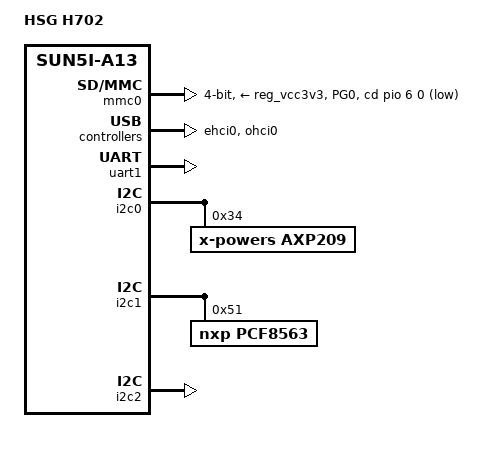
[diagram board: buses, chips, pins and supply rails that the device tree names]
/*
 * Copyright 2014 Chen-Yu Tsai <wens@csie.org>
 *
 * This file is dual-licensed: you can use it either under the terms
 * of the GPL or the X11 license, at your option. Note that this dual
 * licensing only applies to this file, and not this project as a
 * whole.
 *
 *  a) This file is free software; you can redistribute it and/or
 *     modify it under the terms of the GNU General Public License as
 *     published by the Free Software Foundation; either version 2 of the
 *     License, or (at your option) any later version.
 *
 *     This file is distributed in the hope that it will be useful,
 *     but WITHOUT ANY WARRANTY; without even the implied warranty of
 *     MERCHANTABILITY or FITNESS FOR A PARTICULAR PURPOSE.  See the
 *     GNU General Public License for more details.
 *
 *     You should have received a copy of the GNU General Public
 *     License along with this file; if not, write to the Free
 *     Software Foundation, Inc., 51 Franklin St, Fifth Floor, Boston,
 *     MA 02110-1301 USA
 *
 * Or, alternatively,
 *
 *  b) Permission is hereby granted, free of charge, to any person
 *     obtaining a copy of this software and associated documentation
 *     files (the "Software"), to deal in the Software without
 *     restriction, including without limitation the rights to use,
 *     copy, modify, merge, publish, distribute, sublicense, and/or
 *     sell copies of the Software, and to permit persons to whom the
 *     Software is furnished to do so, subject to the following
 *     conditions:
 *
 *     The above copyright notice and this permission notice shall be
 *     included in all copies or substantial portions of the Software.
 *
 *     THE SOFTWARE IS PROVIDED "AS IS", WITHOUT WARRANTY OF ANY KIND,
 *     EXPRESS OR IMPLIED, INCLUDING BUT NOT LIMITED TO THE WARRANTIES
 *     OF MERCHANTABILITY, FITNESS FOR A PARTICULAR PURPOSE AND
 *     NONINFRINGEMENT. IN NO EVENT SHALL THE AUTHORS OR COPYRIGHT
 *     HOLDERS BE LIABLE FOR ANY CLAIM, DAMAGES OR OTHER LIABILITY,
 *     WHETHER IN AN ACTION OF CONTRACT, TORT OR OTHERWISE, ARISING
 *     FROM, OUT OF OR IN CONNECTION WITH THE SOFTWARE OR THE USE OR
 *     OTHER DEALINGS IN THE SOFTWARE.
 */

/dts-v1/;
#include "sun5i-a13.dtsi"
#include "sunxi-common-regulators.dtsi"

/ {
	model = "HSG H702";
	compatible = "hsg,h702", "allwinner,sun5i-a13";

	soc@01c00000 {
		mmc0: mmc@01c0f000 {
			pinctrl-names = "default";
			pinctrl-0 = <&mmc0_pins_a>, <&mmc0_cd_pin_h702>;
			vmmc-supply = <&reg_vcc3v3>;
			bus-width = <4>;
			cd-gpios = <&pio 6 0 0>; /* PG0 */
			cd-inverted;
			status = "okay";
		};

		usbphy: phy@01c13400 {
			/*
			 * There doesn't seem to be a GPIO for controlling
			 * usb1 vbus, despite the fex file saying otherwise.
			 */
			usb1_vbus-supply = <&reg_vcc5v0>;
			status = "okay";
		};

		ehci0: usb@01c14000 {
			status = "okay";
		};

		ohci0: usb@01c14400 {
			status = "okay";
		};

		pinctrl@01c20800 {
			mmc0_cd_pin_h702: mmc0_cd_pin@0 {
				allwinner,pins = "PG0";
				allwinner,function = "gpio_in";
				allwinner,drive = <0>;
				allwinner,pull = <1>;
			};
		};

		uart1: serial@01c28400 {
			pinctrl-names = "default";
			pinctrl-0 = <&uart1_pins_b>;
			status = "okay";
		};

		i2c0: i2c@01c2ac00 {
			pinctrl-names = "default";
			pinctrl-0 = <&i2c0_pins_a>;
			status = "okay";

			axp209: pmic@34 {
				compatible = "x-powers,axp209";
				reg = <0x34>;
				interrupts = <0>;
				interrupt-controller;
				#interrupt-cells = <1>;
			};
		};

		i2c1: i2c@01c2b000 {
			pinctrl-names = "default";
			pinctrl-0 = <&i2c1_pins_a>;
			status = "okay";

			pcf8563: rtc@51 {
				compatible = "nxp,pcf8563";
				reg = <0x51>;
			};
		};

		i2c2: i2c@01c2b400 {
			pinctrl-names = "default";
			pinctrl-0 = <&i2c2_pins_a>;
			status = "okay";
		};
	};
};
